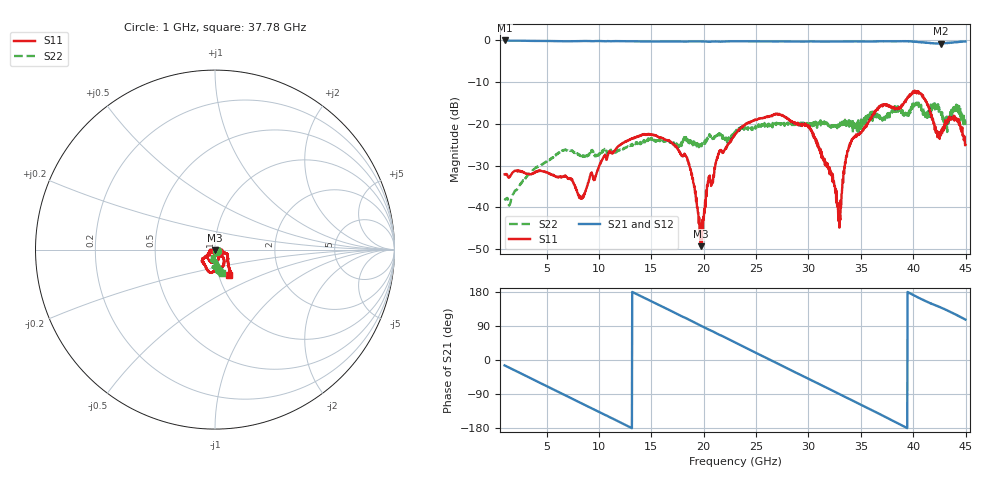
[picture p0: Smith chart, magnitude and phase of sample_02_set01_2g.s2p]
!Keysight Technologies,N5247B,MY61255062,A.19.80.06
!Date: Friday, March 13, 2026 18:04:59
!Correction: S11(C  2-Port  )
!S21(C  2-Port  )
!S12(C  2-Port  )
!S22(C  2-Port  )
!S2P File: Measurements: S11, S21, S12, S22:
# Hz S  dB  R 50
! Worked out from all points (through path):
!   1467 points, 1 GHz to 44.98 GHz, reference 50 ohm
!   highest |S21| = -0.13 dB at 1 GHz (marker M1); lowest = -0.9 dB at 42.64 GHz (marker M2)
!   group delay of S21, straight-line fit = 37.9 ps
!   lowest |S11| = -49.2 dB at 19.72 GHz (marker M3), VSWR 1.01, Z = 49.9 - j0.329 ohm
!   |S11| at or under -10 dB: start of sweep to end of sweep
!   |S22| runs from -39.6 to -15.0 dB; largest |S21 - S12| = 0.0078
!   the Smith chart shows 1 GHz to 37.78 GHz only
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1e9  -32.09 -30.2  -0.13 -14.3  -0.13 -14.2  -37.85 -26.1
4.93e9  -31.51 -90.3  -0.26 -67.8  -0.26 -67.8  -29.15 -83.9
8.35e9  -37.69 -76.9  -0.27 -114.0  -0.27 -114.0  -27.84 -110.5
1.213e10  -24.90 -69.6  -0.30 -165.9  -0.30 -165.9  -26.12 -99.5
1.567e10  -23.14 -115.6  -0.37 146.0  -0.37 146.1  -23.91 -106.5
1.84e10  -28.10 -141.4  -0.39 109.2  -0.39 109.2  -23.68 -103.4
1.972e10  -49.25 -107.0  -0.35 90.7  -0.35 90.7  -25.25 -93.7
2.041e10  -33.79 -47.8  -0.43 81.2  -0.43 81.2  -23.37 -83.6
2.134e10  -28.19 -40.8  -0.39 68.8  -0.38 68.8  -22.87 -86.9
2.299e10  -22.51 -47.2  -0.33 46.4  -0.32 46.4  -21.95 -81.6
2.662e10  -17.91 -96.3  -0.39 -3.4  -0.39 -3.3  -20.10 -89.5
3.034e10  -22.21 -141.4  -0.36 -54.3  -0.35 -54.2  -19.89 -93.7
3.226e10  -32.12 -169.5  -0.38 -80.3  -0.39 -80.3  -21.06 -94.2
3.292e10  -42.41 -106.0  -0.37 -89.4  -0.37 -89.2  -20.70 -87.4
3.355e10  -28.99 -22.7  -0.36 -98.1  -0.35 -98.1  -20.14 -90.2
3.409e10  -24.08 -19.9  -0.35 -105.5  -0.36 -105.5  -19.84 -89.0
3.766e10  -15.92 -59.6  -0.31 -154.6  -0.32 -154.5  -18.51 -69.8
4.057e10  -12.57 -105.2  -0.53 163.4  -0.53 163.3  -15.50 -93.1
4.264e10  -22.81 -158.8  -0.88 138.3  -0.83 138.5  -17.21 -114.5
4.324e10  -19.94 -178.6  -0.77 131.2  -0.73 131.2  -21.98 -87.2
4.393e10  -19.28 -173.0  -0.58 121.7  -0.57 121.8  -16.89 -86.3
4.498e10  -25.09 -141.5  -0.37 106.7  -0.35 106.7  -20.67 -91.0
